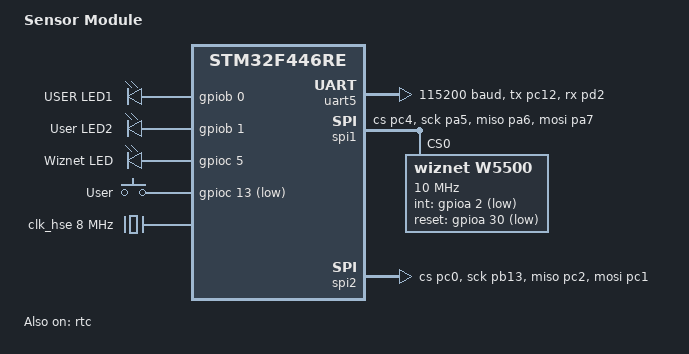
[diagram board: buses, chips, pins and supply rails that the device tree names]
/*
 * Copyright (c) 2018 Philémon Jaermann
 *
 * SPDX-License-Identifier: Apache-2.0
 */

/dts-v1/;
#include <st/f4/stm32f446Xe.dtsi>
#include <st/f4/stm32f446r(c-e)tx-pinctrl.dtsi>
#include <zephyr/dt-bindings/input/input-event-codes.h>
#include "sensor_module-pinctrl.dtsi"

/ {
	model = "Sensor Module";
	compatible = "st,stm32f446re-nucleo";

	chosen {
		zephyr,console = &uart5;
		zephyr,shell-uart = &uart5;
		zephyr,sram = &sram0;
		zephyr,flash = &flash0;
	};

	leds: leds {
		compatible = "gpio-leds";
		red_led_1: led_1 {
			gpios = <&gpiob 0 GPIO_ACTIVE_HIGH>;
			label = "USER LED1";
		};

        red_led_2: led_2 {
			gpios = <&gpiob 1 GPIO_ACTIVE_HIGH>;
			label = "User LED2";
		};

        wiz_led: wiz_led {
			gpios = <&gpioc 5 GPIO_ACTIVE_HIGH>;
			label = "Wiznet LED";
		};
	};

	gpio_keys {
		compatible = "gpio-keys";
		user_button: button {
			label = "User";
			gpios = <&gpioc 13 GPIO_ACTIVE_LOW>;
			zephyr,code = <INPUT_KEY_0>;
		};
	};

	aliases {
		led0 = &red_led_1;
		led1 = &red_led_2;
	};
};

&clk_lsi {
	status = "okay";
};

&clk_hse {
	hse-bypass;
	clock-frequency = <DT_FREQ_M(8)>; /* STLink 8MHz clock */
	status = "okay";
};

&pll {
	div-m = <8>;
	mul-n = <384>;
	div-p = <4>;
	div-q = <8>;
	clocks = <&clk_hse>;
	status = "okay";
};

&rcc {
	clocks = <&pll>;
	clock-frequency = <DT_FREQ_M(96)>;
	ahb-prescaler = <1>;
	apb1-prescaler = <2>;
	apb2-prescaler = <1>;
};

&uart5 {
	pinctrl-0 = <&uart5_tx_pc12 &uart5_rx_pd2>;
	pinctrl-names = "default";
	current-speed = <115200>;
	status = "okay";
};

&spi1 {
	pinctrl-0 = <&eth_cs_pc4 &spi1_sck_pa5
		     &spi1_miso_pa6 &spi1_mosi_pa7>;
	pinctrl-names = "default";
	status = "okay";

    w5500: w5500@0 {
        compatible = "wiznet,w5500";
        label = "w5500";
        reg = <0x0>;
        spi-max-frequency = <10000000>;
        int-gpios = <&gpioa 2 GPIO_ACTIVE_LOW>;
        reset-gpios = <&gpioa 30 GPIO_ACTIVE_LOW>;
    };
};

&spi2 {
    pinctrl-0 = <&flash_cs_pc0 &spi2_sck_pb13
		     &spi2_miso_pc2 &spi2_mosi_pc1>;
	pinctrl-names = "default";
	status = "okay";

};

&rtc {
	clocks = <&rcc STM32_CLOCK_BUS_APB1 0x10000000>,
		 <&rcc STM32_SRC_LSI RTC_SEL(2)>;
	status = "okay";
};

&backup_sram {
	status = "okay";
};

&flash0 {
	partitions {
		compatible = "fixed-partitions";
		#address-cells = <1>;
		#size-cells = <1>;

		boot_partition: partition@0 {
			label = "mcuboot";
			reg = <0x00000000 DT_SIZE_K(64)>;
			read-only;
		};

		/*
		 * The flash starting at 0x00010000 and ending at
		 * 0x0001ffff (sectors 16-31) is reserved for use
		 * by the application.
		 */
		storage_partition: partition@10000 {
			label = "storage";
			reg = <0x00010000 DT_SIZE_K(64)>;
		};

		slot0_partition: partition@20000 {
			label = "image-0";
			reg = <0x00020000 DT_SIZE_K(128)>;
		};
		slot1_partition: partition@40000 {
			label = "image-1";
			reg = <0x00040000 DT_SIZE_K(128)>;
		};
		scratch_partition: partition@60000 {
			label = "image-scratch";
			reg = <0x00060000 DT_SIZE_K(128)>;
		};
	};
};
